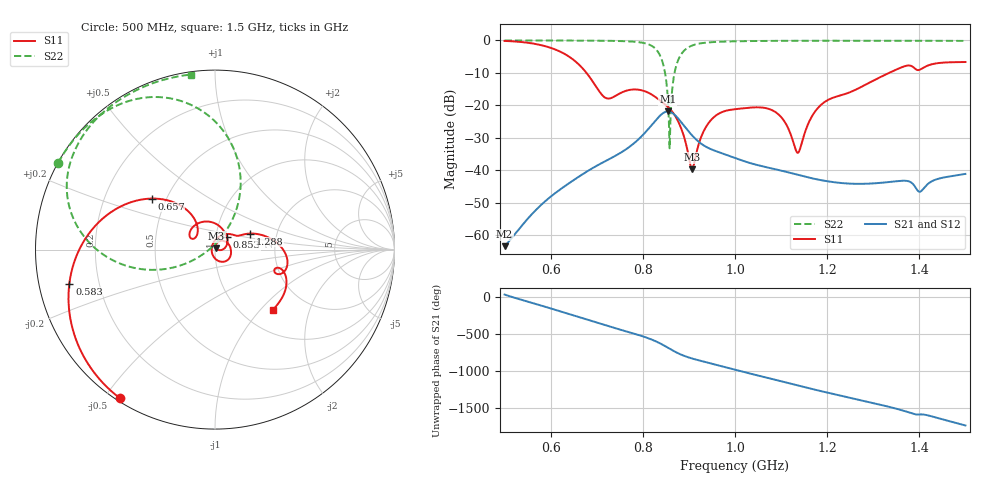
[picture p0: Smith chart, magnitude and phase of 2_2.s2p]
! TOUCHSTONE file generated by CST MICROWAVE STUDIO
! Date and time: Fri Oct  2 16:33:08 2020
! Project name: Scenario_1_Free_Space_out_of_line.cst
! Parameters = {Lambda=346.42; Step_1=17.321; dy1=330.299; dx1=346; L_HA=400; MT=2.54; Rad_Dielectric=30; Rad_Lower=7.3; Rad_Upper=30; a_HA=580; a_WG=246; b_HA=500; b_WG=121; c_HA=0; c_WG=187; d_feed=85; h_feed=15; h_lower=18; h_upper=40}
! Header version: 2018
! Port assignment regex: !\s*Touchstone port\s*([0-9]+)\s*=\s*(CST MWS port|CST DS port)\s*([0-9]+|Zmin|Zmax)\s*\(\"(.*)\"\)(\s*mode\s*([0-9]+))?.*
! Touchstone port assignment:
! Touchstone port 1 = CST MWS port 1 ("")
! Touchstone port 2 = CST MWS port 2 ("")
# GHz S DB R 50
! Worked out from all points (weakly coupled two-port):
!   1003 points, 500 MHz to 1.5 GHz, reference 50 ohm
!   highest |S21| = -21.86 dB at 854 MHz (marker M1); lowest = -63.3 dB at 500 MHz (marker M2)
!   lowest |S11| = -39.6 dB at 907 MHz (marker M3), VSWR 1.02, Z = 50.8 + j0.65 ohm
!   |S11| at or under -10 dB: 677.7 MHz to 1.334 GHz (656.5 MHz wide, 65.3 % of centre)
!   |S22| runs from -33.2 to 0.0 dB; largest |S21 - S12| = 8.1e-05
!   S11 on the Smith chart (normalised r, x): 500 MHz: 0.01, -0.55; 583 MHz: 0.09, -0.11; 657 MHz: 0.42, +0.30; 853 MHz: 1.13, +0.16; 1.288 GHz: 1.46, +0.27; 1.5 GHz: 1.37, -1.17
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0.5  -0.15 -122.6  -63.31 34.7  -63.31 34.7  -0.01 151.1
0.583  -1.58 -166.8  -50.12 -120.5  -50.12 -120.5  -0.02 145.3
0.657  -6.87 141.2  -42.30 97.4  -42.30 97.4  -0.04 139.2
0.667  -8.25 134.5  -41.37 78.2  -41.37 78.2  -0.04 138.3
0.72  -17.73 140.1  -37.04 -22.9  -37.04 -22.9  -0.11 132.2
0.789  -15.13 125.8  -30.63 -148.3  -30.63 -148.3  -0.50 117.2
0.834  -18.12 72.3  -23.62 106.1  -23.62 106.1  -3.75 84.9
0.846  -19.45 57.1  -22.19 66.5  -22.19 66.5  -8.44 67.9
0.853  -20.27 47.3  -21.87 41.4  -21.87 41.4  -15.52 59.4
0.854  -20.40 45.9  -21.86 37.7  -21.86 37.7  -17.35 59.2
0.86  -21.27 36.6  -22.02 16.0  -22.02 16.0  -23.99 -160.7
0.867  -22.54 25.4  -22.64 -8.3  -22.64 -8.3  -11.39 -157.5
0.877  -25.02 9.8  -24.07 -39.7  -24.07 -39.7  -5.93 -169.8
0.907  -39.63 37.8  -29.25 -109.2  -29.25 -109.2  -1.57 164.8
0.943  -25.35 60.3  -33.15 -167.3  -33.15 -167.3  -0.60 150.8
1  -21.16 3.3  -36.16 100.0  -36.16 100.0  -0.27 140.2
1.088  -22.07 -59.7  -39.64 -38.8  -39.64 -38.8  -0.13 130.7
1.136  -34.58 -179.4  -41.35 -114.2  -41.35 -114.2  -0.10 126.6
1.167  -23.35 77.8  -42.42 -160.8  -42.42 -160.8  -0.09 124.1
1.288  -13.27 24.4  -44.08 26.3  -44.08 26.3  -0.09 114.9
1.334  -10.01 11.2  -43.58 -41.1  -43.58 -41.1  -0.09 111.4
1.5  -6.64 -46.3  -41.07 67.0  -41.14 66.7  -0.14 97.8
